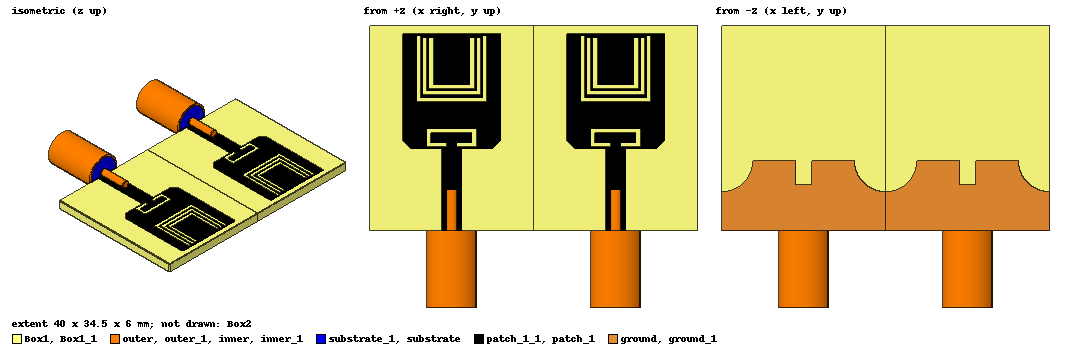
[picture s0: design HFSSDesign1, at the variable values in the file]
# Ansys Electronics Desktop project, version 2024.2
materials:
  vacuum: permittivity=1
  FR4_epoxy: permittivity=4.4 dielectric_loss_tangent=0.02
  brass: conductivity=15000000
  polyethylene: permittivity=2.25 dielectric_loss_tangent=0.001
  Teflon (tm): permittivity=2.1 dielectric_loss_tangent=0.001
  copper: permeability=0.999991 conductivity=58000000

design HFSSDesign1 (HFSS, HFSS Terminal Network, model units mm)
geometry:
  patch_1 = rectangle(corner=(-1.25mm, -12mm, 0mm), x_size=2.5mm, y_size=10mm)
  patch = rectangle(corner=(-6mm, 12mm, 0mm), x_size=12mm, y_size=-14mm)
  Polyline1 = polyline(z=0mm, xy in mm: (6, -1) (5, -2) (6, -2) (6, -1), closed, covered)
  Polyline2 = polyline(z=0mm, xy in mm: (-6, -1) (-5, -2) (-6, -2) (-6, -1), closed, covered)
  patch.subtract(Polyline1, Polyline2)
  Rectangle3 = rectangle(corner=(2.5mm, -1.8mm, 0mm), x_size=0.5mm, y_size=2.2mm)
  Rectangle4 = rectangle(corner=(3mm, 0.4mm, 0mm), x_size=-6mm, y_size=-0.5mm)
  Rectangle5 = rectangle(corner=(-2.5mm, -1.8mm, 0mm), x_size=-0.5mm, y_size=2.2mm)
  Rectangle6 = rectangle(corner=(3mm, -1.3mm, 0mm), x_size=-6mm, y_size=-0.5mm)
  Rectangle7 = rectangle(corner=(0.6mm, -1.3mm, 0mm), x_size=-1.2mm, y_size=-0.5mm)
  Rectangle8 = rectangle(corner=(-3mm, -1.3mm, 0mm), x_size=2.4mm, y_size=-0.5mm)
  Rectangle9 = rectangle(corner=(0.6mm, -1.3mm, 0mm), x_size=2.4mm, y_size=-0.5mm)
  patch.subtract(Rectangle8, Rectangle9)
  patch.subtract(Rectangle3, Rectangle4, Rectangle5)
  Rectangle10 = rectangle(corner=(-0.6mm, -1.3mm, 0mm), x_size=-2.4mm, y_size=-0.5mm)
  patch.subtract(Rectangle10)
  patch.subtract(Rectangle6)
  patch.unite(Rectangle7)
  patch_1.unite(patch)
  Box1 [FR4_epoxy] = box(corner=(-10mm, 13mm, 0mm), size=(20mm, -25mm, -1.6mm))
  Rectangle12 = rectangle(corner=(-2.75mm, 11.5mm, 0mm), x_size=0.5mm, y_size=-6.2mm)
  Rectangle13 = rectangle(corner=(-2.75mm, 5.3mm, 0mm), x_size=5.5mm, y_size=0.5mm)
  Rectangle14 = rectangle(corner=(2.25mm, 11.5mm, 0mm), x_size=0.5mm, y_size=-6.2mm)
  patch_1.subtract(Rectangle12, Rectangle13, Rectangle14)
  Rectangle15 = rectangle(corner=(-3.5mm, 5mm, 0mm), x_size=7mm, y_size=-0.5mm)
  Rectangle16 = rectangle(corner=(-3.5mm, 4.5mm, 0mm), x_size=0.5mm, y_size=7mm)
  Rectangle17 = rectangle(corner=(3.5mm, 4.5mm, 0mm), x_size=-0.5mm, y_size=7mm)
  patch_1.subtract(Rectangle15, Rectangle16, Rectangle17)
  Rectangle18 = rectangle(corner=(-4.25mm, 4.2mm, 0mm), x_size=8.5mm, y_size=-0.5mm)
  Rectangle19 = rectangle(corner=(-4.25mm, 3.7mm, 0mm), x_size=0.5mm, y_size=8mm)
  Rectangle20 = rectangle(corner=(3.75mm, 3.7mm, 0mm), x_size=0.5mm, y_size=8mm)
  patch_1.subtract(Rectangle18, Rectangle19, Rectangle20)
  ground = rectangle(corner=(10mm, -12mm, -1.6mm), x_size=-20mm, y_size=8.5mm)
  Circle1 = circle(normal=Z, centre=(-10mm, -3.5mm, -1.6mm), radius=3.8mm)
  Circle2 = circle(normal=Z, centre=(10mm, -3.5mm, -1.6mm), radius=3.8mm)
  ground.subtract(Circle1, Circle2)
  Rectangle21 = rectangle(corner=(-1mm, -3.5mm, -1.6mm), x_size=2mm, y_size=-3mm)
  ground.subtract(Rectangle21)
  inner [copper] = cylinder(axis=X, base_centre=(-10mm, 0mm, 2.235mm), radius=0.635mm, height=-14.5mm)
  substrate [polyethylene] = cylinder(axis=X, base_centre=(-15mm, 0mm, 2.235mm), radius=2.7mm, height=-9.5mm)
  Cylinder5 = cylinder(axis=X, base_centre=(-10mm, 0mm, 2.235mm), radius=0.635mm, height=-14.5mm)
  substrate.subtract(Cylinder5)
  outer [copper] = cylinder(axis=X, base_centre=(-15mm, 0mm, 2.235mm), radius=3mm, height=-9.5mm)
  Cylinder8 = cylinder(axis=X, base_centre=(-10mm, 0mm, 2.235mm), radius=0.635mm, height=-14.5mm)
  outer.subtract(Cylinder8)
  substrate2 = cylinder(axis=X, base_centre=(-15mm, 0mm, 2.235mm), radius=2.7mm, height=-9.5mm)
  Cylinder9 = cylinder(axis=X, base_centre=(-10mm, 0mm, 2.235mm), radius=0.635mm, height=-14.5mm)
  substrate2.subtract(Cylinder9)
  outer.subtract(substrate2)
  [outer, inner, substrate].rotate(axis=Z, angle=90deg)
  [inner, outer, substrate].move(7.365mm, 2mm, -0.235mm)
  [inner, outer, substrate].move(-7.365mm, 1mm, -2.635mm)
  [inner, outer, substrate].move(10mm, 0mm, 1.27mm)
  [inner, outer, substrate].move(-10mm, 0mm, 0mm)
  patch_1_1 = patch_1.duplicate_along_line(step=(20mm, 0mm, 0mm), total=2)
  Box1_1 [FR4_epoxy] = Box1.duplicate_along_line(step=(20mm, 0mm, 0mm), total=2)
  ground_1 = ground.duplicate_along_line(step=(20mm, 0mm, 0mm), total=2)
  inner_1 [copper] = inner.duplicate_along_line(step=(20mm, 0mm, 0mm), total=2)
  substrate_1 [polyethylene] = substrate.duplicate_along_line(step=(20mm, 0mm, 0mm), total=2)
  outer_1 [copper] = outer.duplicate_along_line(step=(20mm, 0mm, 0mm), total=2)
  Box2 [vacuum] = box(corner=(-35mm, 50mm, -15mm), size=(100mm, -100mm, 30mm))
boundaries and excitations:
  PerfE1: Perfect E Objects=patch_1
  PerfE2: Perfect E Objects=ground
  PerfE3: Perfect E Objects=patch_1_1
  PerfE4: Perfect E Objects=ground_1
  Rad1: Radiation Objects=Box2
  1: Lumped Port Faces=substrate.face(at (0, -21.5, 0.635)) LumpedPortType=Modal Modes{Mode1{IntLine{(0, -21.5, 1.27) -> (0mm, -21500mm, 3270.4824mm)} CharImp=Zpi RenormImp=50ohm}} Impedance=50ohm
  2: Lumped Port Faces=substrate_1.face(at (20, -21.5, 0.635)) LumpedPortType=Modal Modes{Mode1{IntLine{(20, -21.5, 1.27) -> (20000mm, -21500mm, 3270.4824mm)} CharImp=Zpi RenormImp=50ohm}} Impedance=50ohm
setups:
  Setup1: HfssDriven Frequency=5GHz MaxDeltaS=0.02 MaximumPasses=6 MinimumPasses=1 MinimumConvergedPasses=1 PercentRefinement=30 BasisOrder=1 PortAccuracy=2 DrivenSolverType="Direct Solver"
    sweep Sweep: 2GHz to 12GHz, 45 points; Type=Discrete SaveFields
  Setup2: HfssDrivenAuto AutoSolverSetting=Balanced Type=Discrete
    sweep Sweep: 2GHz to 10GHz, 51 points;
  Setup3: HfssDrivenAuto AutoSolverSetting=Balanced Type=Discrete
    sweep Sweep: 2GHz to 10GHz, 51 points;
  Setup4: HfssDrivenAuto AutoSolverSetting=Balanced Type=Discrete
    sweep Sweep: 2GHz to 13GHz, 51 points;
  Setup5: HfssDrivenAuto AutoSolverSetting=Balanced Type=Discrete
    sweep Sweep: 2GHz to 10GHz, 51 points;
  Setup6: HfssDrivenAuto AutoSolverSetting=Balanced Type=Discrete
    sweep Sweep: 2GHz to 12GHz, 51 points;
  Setup7: HfssDrivenAuto AutoSolverSetting=Balanced Type=Discrete
    sweep Sweep: 0GHz to 12GHz, 51 points;
  Setup8: HfssDrivenAuto AutoSolverSetting=Balanced Type=Discrete
    sweep Sweep: 0GHz to 10GHz, 51 points;
  Setup9: HfssDrivenAuto AutoSolverSetting=Balanced Type=Discrete
    sweep Sweep: 0GHz to 10GHz, 51 points;
  Setup10: HfssDrivenAuto AutoSolverSetting=Balanced Type=Discrete
    sweep Sweep: 0GHz to 10GHz, 51 points;
  Setup11: HfssDrivenAuto AutoSolverSetting=Balanced SaveAnyFields=false Type=Interpolating
    sweep Sweep: 0GHz to 10GHz, 51 points;
  Setup12: HfssDrivenAuto AutoSolverSetting=Balanced Type=Discrete
    sweep Sweep: 0GHz to 10GHz, 51 points;
  Setup13: HfssDrivenAuto AutoSolverSetting=Balanced Type=Discrete
    sweep Sweep: 0GHz to 10GHz, 51 points;
  Setup14: HfssDrivenAuto AutoSolverSetting=Balanced Type=Discrete
    sweep Sweep: 0GHz to 12GHz, 51 points;
  Setup15: HfssDriven Frequency=5GHz MaxDeltaS=0.02 MaximumPasses=6 MinimumPasses=1 MinimumConvergedPasses=1 PercentRefinement=30 BasisOrder=1 PortAccuracy=2 DrivenSolverType="Direct Solver"
    sweep Sweep: 2.5GHz to 12GHz, 401 points; Type=Interpolating InterpTolerance=0.5 InterpMaxSolns=250 PassivityErrorTolerance=0.0001
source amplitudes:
  1:1, 2:1: 1W 0deg
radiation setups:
  Infinite Sphere1: Infinite Sphere Theta=-180deg..180deg step 2deg Phi=0deg..180deg step 2deg
  Infinite Sphere2: Infinite Sphere Theta=-180deg..180deg step 2deg Phi=0deg..90deg step 90deg
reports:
  S Parameter Plot 1: dB(S(1,1)) vs Freq on Setup1 : Sweep
  S Parameter Plot 2: dB(S(1,1)), dB(S(1,2)) vs Freq on Setup1 : Sweep
  Gain Plot 1: dB(GainTotal) vs Phi, Theta on Setup1 : LastAdaptive, Infinite Sphere1 [Freq=5GHz]
  Gain Plot 2: dB(GainTotal) vs Theta on Setup1 : LastAdaptive, Infinite Sphere1 [Phi=all Freq=5GHz]
  S Parameter Plot 3: dB(S(1,1)), dB(S(1,2)) vs Freq on Setup1 : Sweep
